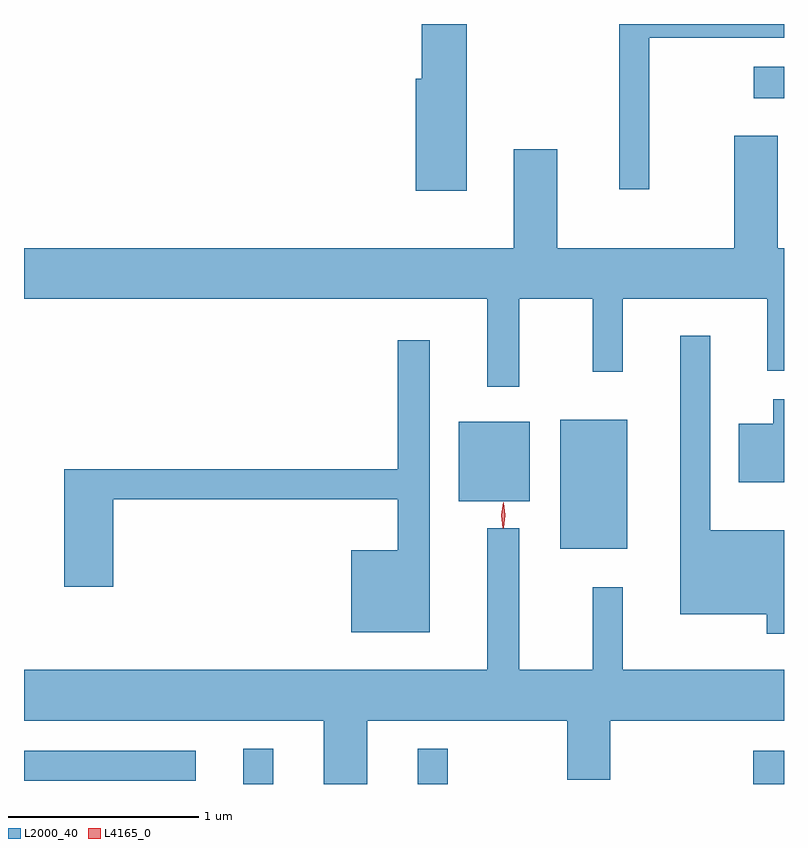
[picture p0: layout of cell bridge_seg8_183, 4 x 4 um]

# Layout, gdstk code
import gdstk
lib = gdstk.Library(unit=1e-6, precision=1e-09)
def R(c, l, rs):  # rectangles x0, y0, x1, y1
    for r in rs: c.add(gdstk.rectangle(r[:2], r[2:], *l))
def P(c, l, *ps):  # polygons
    for p in ps: c.add(gdstk.Polygon(p, *l))
L2000_40 = (2000, 40)
L4165_0 = (4165, 0)

bridge_seg8_183 = lib.new_cell('bridge_seg8_183')
R(bridge_seg8_183, L2000_40, [(1140.836,1900.463,1140.994,1900.648), (1141.756,1900.463,1141.914,1900.648), (1143.521,1900.463,1143.683,1900.639), (1139.683,1900.481,1140.588,1900.639), (1142.506,1901.701,1142.859,1902.379), (1141.971,1901.951,1142.344,1902.369), (1143.523,1904.071,1143.683,1904.239)])
P(bridge_seg8_183, L2000_40, [(1142.014,1904.463),(1141.776,1904.463),(1141.776,1904.174),(1141.746,1904.174),(1141.746,1903.586),(1142.014,1903.586)],
  [(1142.974,1904.391),(1143.683,1904.391),(1143.683,1904.463),(1142.816,1904.463),(1142.816,1903.593),(1142.974,1903.593)],
  [(1142.289,1903.016),(1142.676,1903.016),(1142.676,1902.633),(1142.834,1902.633),(1142.834,1903.016),(1143.596,1903.016),(1143.596,1902.638),(1143.683,1902.638),(1143.683,1903.284),(1143.649,1903.284),(1143.649,1903.874),(1143.421,1903.874),(1143.421,1903.284),(1142.489,1903.284),(1142.489,1903.804),(1142.261,1903.804),(1142.261,1903.284),(1139.683,1903.284),(1139.683,1903.016),(1142.121,1903.016),(1142.121,1902.553),(1142.289,1902.553)],
  [(1143.683,1901.799),(1143.294,1901.799),(1143.294,1902.823),(1143.136,1902.823),(1143.136,1901.356),(1143.591,1901.356),(1143.591,1901.253),(1143.683,1901.253)],
  [(1141.819,1902.798),(1141.651,1902.798),(1141.651,1902.119),(1139.896,1902.119),(1139.896,1901.501),(1140.154,1901.501),(1140.154,1901.961),(1141.651,1901.961),(1141.651,1901.694),(1141.406,1901.694),(1141.406,1901.261),(1141.819,1901.261)],
  [(1143.683,1902.489),(1143.626,1902.489),(1143.626,1902.359),(1143.446,1902.359),(1143.446,1902.051),(1143.683,1902.051)],
  [(1141.489,1900.796),(1142.541,1900.796),(1142.541,1900.486),(1142.769,1900.486),(1142.769,1900.796),(1143.683,1900.796),(1143.683,1901.064),(1142.834,1901.064),(1142.834,1901.498),(1142.676,1901.498),(1142.676,1901.064),(1142.289,1901.064),(1142.289,1901.808),(1142.121,1901.808),(1142.121,1901.064),(1139.683,1901.064),(1139.683,1900.796),(1141.261,1900.796),(1141.261,1900.463),(1141.489,1900.463)])
P(bridge_seg8_183, L4165_0, [(1142.206,1901.813),(1142.197,1901.877),(1142.207,1901.942),(1142.208,1901.942),(1142.208,1901.942),(1142.217,1901.877),(1142.207,1901.813),(1142.207,1901.813)],
  [(1142.205,1901.809),(1142.204,1901.81),(1142.196,1901.878),(1142.205,1901.946),(1142.206,1901.946),(1142.206,1901.946),(1142.215,1901.878),(1142.206,1901.81)])

lib.write_gds('bridge_seg8_183.gds')
